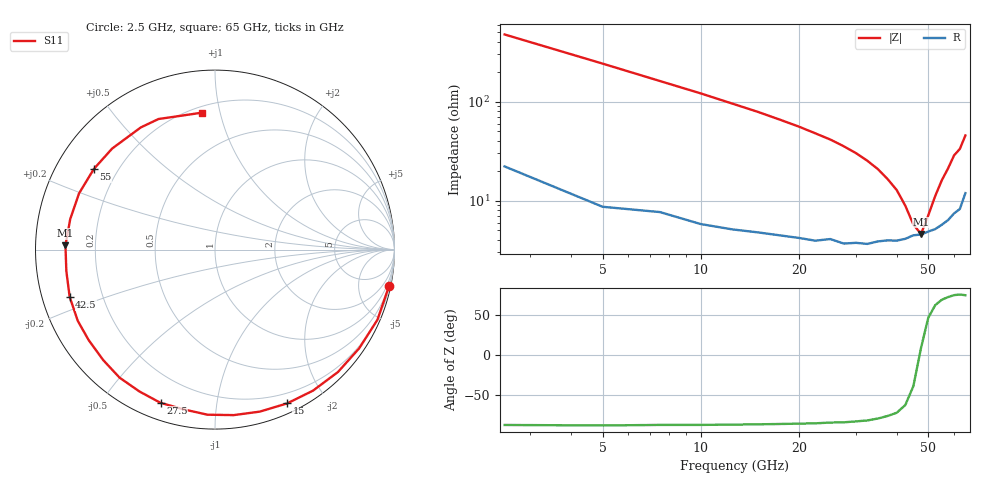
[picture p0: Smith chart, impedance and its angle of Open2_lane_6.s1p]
! File created by SignalIntegrity v1.5.1: Signal and Power Integrity Tools
! https://github.com/Nubis-Communications/SignalIntegrity
# MHz S MA R 50.0
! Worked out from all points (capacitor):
!   26 points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, 2.5 GHz to 65 GHz, reference 50 ohm
!   read as one part to ground: C = 130 fF near 2.5 GHz
!   lowest |Z| = 4.6 ohm at 47.5 GHz (marker M1)
!   series resonance near 47.08 GHz, so ESL is about 88 pH
!   S11 on the Smith chart (normalised r, x): 2.5 GHz: 0.44, -9.52; 15 GHz: 0.10, -1.57; 27.5 GHz: 0.07, -0.70; 42.5 GHz: 0.08, -0.16; 55 GHz: 0.11, +0.30; 65 GHz: 0.24, +0.88
2500  0.9904 -12.0
5000  0.9859 -23.4
7500  0.9735 -34.4
10000  0.9668 -44.9
12500  0.9569 -55.2
15000  0.9465 -64.8
17500  0.9367 -74.5
20000  0.928 -83.5
22500  0.9209 -92.6
25000  0.9072 -100.8
27500  0.9063 -109.5
30000  0.8956 -118.0
32500  0.8897 -126.7
35000  0.8757 -135.3
37500  0.866 -144.3
40000  0.8616 -152.5
42500  0.8515 -162.0
45000  0.8369 -171.7
47500  0.8335 178.3
50000  0.8243 168.1
52500  0.8196 157.5
55000  0.8108 146.3
57500  0.8034 135.5
60000  0.7964 121.3
62500  0.7928 113.4
65000  0.7662 95.6
